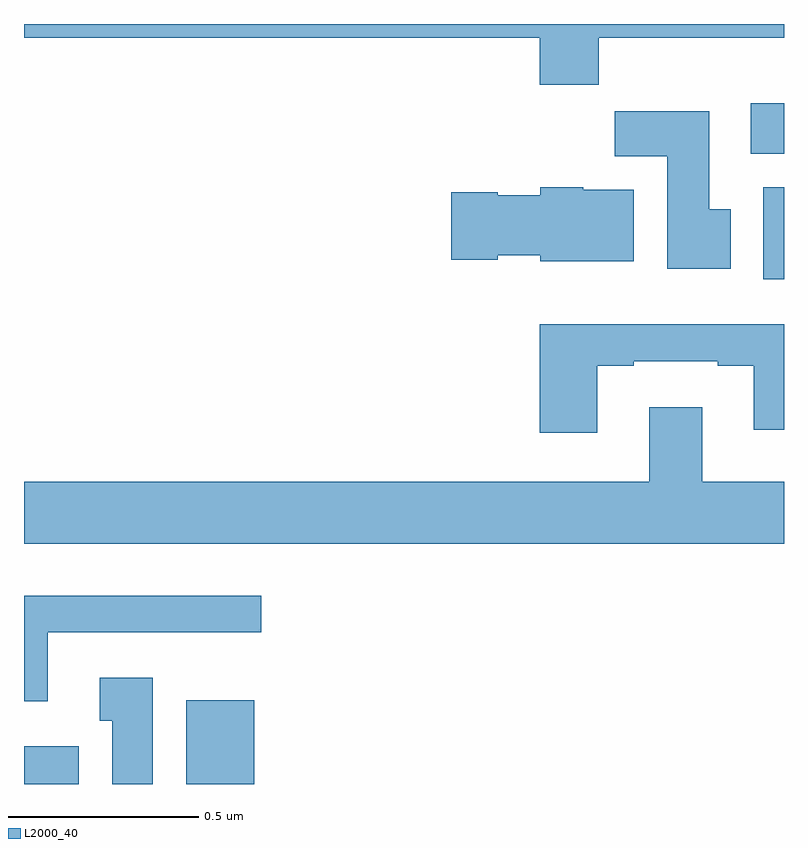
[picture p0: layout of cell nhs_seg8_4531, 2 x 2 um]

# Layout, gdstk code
import gdstk
lib = gdstk.Library(unit=1e-6, precision=1e-09)
def R(c, l, rs):  # rectangles x0, y0, x1, y1
    for r in rs: c.add(gdstk.rectangle(r[:2], r[2:], *l))
def P(c, l, *ps):  # polygons
    for p in ps: c.add(gdstk.Polygon(p, *l))
L2000_40 = (2000, 40)

nhs_seg8_4531 = lib.new_cell('nhs_seg8_4531')
R(nhs_seg8_4531, L2000_40, [(172,1083.9,172.144,1084), (172.427,1083.9,172.606,1084.12), (173.945,1085.228,174,1085.47), (173.913,1085.558,174,1085.692)])
P(nhs_seg8_4531, L2000_40, [(173.513,1085.864),(174,1085.864),(174,1085.9),(172,1085.9),(172,1085.864),(173.357,1085.864),(173.357,1085.74),(173.513,1085.74)],
  [(173.86,1085.412),(173.803,1085.412),(173.803,1085.671),(173.554,1085.671),(173.554,1085.552),(173.693,1085.552),(173.693,1085.256),(173.86,1085.256)],
  [(173.605,1085.464),(173.472,1085.464),(173.472,1085.47),(173.358,1085.47),(173.358,1085.449),(173.247,1085.449),(173.247,1085.457),(173.124,1085.457),(173.124,1085.279),(173.247,1085.279),(173.247,1085.291),(173.358,1085.291),(173.358,1085.276),(173.605,1085.276)],
  [(173.509,1085.001),(173.605,1085.001),(173.605,1085.013),(173.825,1085.013),(173.825,1085.001),(173.921,1085.001),(173.921,1084.832),(174,1084.832),(174,1085.11),(173.357,1085.11),(173.357,1084.824),(173.509,1084.824)],
  [(174,1084.696),(173.785,1084.696),(173.785,1084.891),(173.645,1084.891),(173.645,1084.696),(172,1084.696),(172,1084.532),(174,1084.532)],
  [(172.063,1084.299),(172.624,1084.299),(172.624,1084.396),(172,1084.396),(172,1084.118),(172.063,1084.118)],
  [(172.339,1084.18),(172.199,1084.18),(172.199,1084.067),(172.232,1084.067),(172.232,1083.9),(172.339,1083.9)])

lib.write_gds('nhs_seg8_4531.gds')
